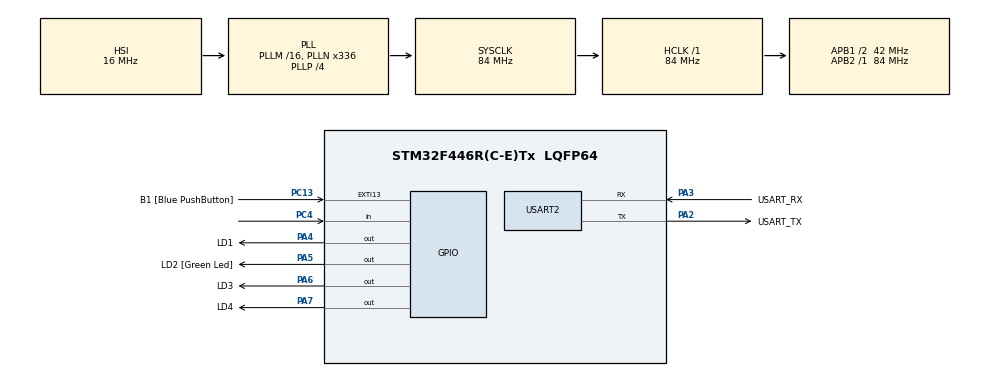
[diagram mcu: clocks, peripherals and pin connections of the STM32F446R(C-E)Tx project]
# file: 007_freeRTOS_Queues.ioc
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Mcu.Family=STM32F4
Mcu.Name=STM32F446R(C-E)Tx
Mcu.Package=LQFP64
NVIC.PriorityGroup=NVIC_PRIORITYGROUP_4
NVIC.TIM6_DAC_IRQn=true\:0\:0\:false\:false\:true\:false\:true\:true
NVIC.TimeBase=TIM6_DAC_IRQn
NVIC.TimeBaseIP=TIM6
NVIC.USART2_IRQn=true\:6\:0\:true\:false\:true\:true\:true\:true
PA13.GPIO_Label=TMS
PA13.Signal=SYS_JTMS-SWDIO
PA14.GPIO_Label=TCK
PA14.Signal=SYS_JTCK-SWCLK
PA2.GPIO_Label=USART_TX
PA2.Mode=Asynchronous
PA2.Signal=USART2_TX
PA3.GPIO_Label=USART_RX
PA3.Mode=Asynchronous
PA3.Signal=USART2_RX
PA4.GPIO_Label=LD1
PA4.Signal=GPIO_Output
PA5.GPIO_Label=LD2 [Green Led]
PA5.Signal=GPIO_Output
PA6.GPIO_Label=LD3
PA6.Signal=GPIO_Output
PA7.GPIO_Label=LD4
PA7.Signal=GPIO_Output
PB3.GPIO_Label=SWO
PB3.Signal=SYS_JTDO-SWO
PC13.GPIO_Label=B1 [Blue PushButton]
PC13.GPIO_ModeDefaultEXTI=GPIO_MODE_IT_FALLING
PC13.Signal=GPXTI13
PC14-OSC32_IN.Signal=RCC_OSC32_IN
PC15-OSC32_OUT.Signal=RCC_OSC32_OUT
PC4.Signal=GPIO_Input
PH0-OSC_IN.Signal=RCC_OSC_IN
PH1-OSC_OUT.Signal=RCC_OSC_OUT
ProjectManager.HeapSize=0x200
ProjectManager.StackSize=0x400
ProjectManager.TargetToolchain=STM32CubeIDE
RCC.AHBFreq_Value=84000000
RCC.APB1CLKDivider=RCC_HCLK_DIV2
RCC.APB1Freq_Value=42000000
RCC.APB1TimFreq_Value=84000000
RCC.APB2Freq_Value=84000000
RCC.APB2TimFreq_Value=84000000
RCC.CortexFreq_Value=84000000
RCC.FLatency-AdvancedSettings=FLASH_LATENCY_2
RCC.HCLKFreq_Value=84000000
RCC.HSE_VALUE=8000000
RCC.HSI_VALUE=16000000
RCC.LSE_VALUE=32768
RCC.PLLN=336
RCC.PLLP=RCC_PLLP_DIV4
RCC.SYSCLKFreq_VALUE=84000000
RCC.SYSCLKSource=RCC_SYSCLKSOURCE_PLLCLK
RCC.USBFreq_Value=168000000
RCC.VCOOutputFreq_Value=336000000
RTC.HourFormat=RTC_HOURFORMAT_12
USART2.VirtualMode=VM_ASYNC
VP_RTC_VS_RTC_Activate.Mode=RTC_Enabled
VP_SYS_VS_tim6.Mode=TIM6
board=NUCLEO-F446RE

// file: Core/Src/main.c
/* USER CODE BEGIN Header */
/**
  ******************************************************************************
  * @file           : main.c
  * @brief          : Main program body
  * @auther         : Rahul B.
  ******************************************************************************
  * @attention
  *
  * Copyright (c) 2025 STMicroelectronics.
  * All rights reserved.
  *
  * This software is licensed under terms that can be found in the LICENSE file
  * in the root directory of this software component.
  * If no LICENSE file comes with this software, it is provided AS-IS.
  *
  ******************************************************************************
  */
/* USER CODE END Header */
#include "main.h"

/* USER CODE BEGIN Includes */
#include <stdio.h>
#include "FreeRTOS.h"
#include "task.h"
/* USER CODE END Includes */

RTC_HandleTypeDef hrtc;

UART_HandleTypeDef huart2;

/* USER CODE BEGIN PV */
xTaskHandle handle_menu_task;
xTaskHandle handle_cmd_task;
xTaskHandle handle_print_task;
xTaskHandle handle_led_task;
xTaskHandle handle_rtc_task;

QueueHandle_t q_data;
QueueHandle_t q_print;
// software timers
TimerHandle_t handle_led_timer[4];

volatile uint8_t user_data;

state_t curr_state = sMainMenu;
/* USER CODE END PV */

void SystemClock_Config(void);
static void MX_GPIO_Init(void);
static void MX_USART2_UART_Init(void);
static void MX_RTC_Init(void);
/* USER CODE BEGIN PFP */
void led_effect_callback(TimerHandle_t xTimer);
/* USER CODE END PFP */

int main(void)
{

  /* USER CODE BEGIN 1 */
  BaseType_t status;
  /* USER CODE END 1 */

  /* MCU Configuration--------------------------------------------------------*/

  /* Reset of all peripherals, Initializes the Flash interface and the Systick. */
  HAL_Init();

  /* Configure the system clock */
  SystemClock_Config();

  /* Initialize all configured peripherals */
  MX_GPIO_Init();
  MX_USART2_UART_Init();
  MX_RTC_Init();
  /* USER CODE BEGIN 2 */
//  char msg[] = "Hello UART2 via ST-LINK!\r\n";
//
//    while (1)
//    {
//      HAL_UART_Transmit(&huart2, (uint8_t*)msg, strlen(msg), HAL_MAX_DELAY);
//      HAL_Delay(1000);
//    }

  status = xTaskCreate(menu_task, "menu_task", 250, NULL, 5, &handle_menu_task);
  configASSERT(status == pdPASS);

  status = xTaskCreate(cmd_task, "cmd_task", 250, NULL, 5, &handle_cmd_task);
  configASSERT(status == pdPASS);

  status = xTaskCreate(print_task, "print_task", 250, NULL, 5, &handle_print_task);
  configASSERT(status == pdPASS);

  status = xTaskCreate(led_task, "led_task", 250, NULL, 5, &handle_led_task);
  configASSERT(status == pdPASS);

  status = xTaskCreate(rtc_task, "rtc_task", 250, NULL, 5, &handle_rtc_task);
  configASSERT(status == pdPASS);

  q_data = xQueueCreate(10, sizeof(char));
  configASSERT(q_data != NULL);

  q_print = xQueueCreate(10, sizeof(size_t));
  configASSERT(q_print != NULL);

  // create software timers
  for (int i=0; i<4; i++){
      handle_led_timer[i] = xTimerCreate("led_timer", pdMS_TO_TICKS(1000), pdTRUE, (void *)(i+1), led_effect_callback);
  }

  HAL_UART_Receive_IT(&huart2,(uint8_t *) user_data, 1 );

  vTaskStartScheduler();
  /* USER CODE END 2 */

  /* Infinite loop */
  while (1)
  {

  }
}

void SystemClock_Config(void)
{
  RCC_OscInitTypeDef RCC_OscInitStruct = {0};
  RCC_ClkInitTypeDef RCC_ClkInitStruct = {0};

  /** Configure the main internal regulator output voltage
  */
  __HAL_RCC_PWR_CLK_ENABLE();
  __HAL_PWR_VOLTAGESCALING_CONFIG(PWR_REGULATOR_VOLTAGE_SCALE3);

  /** Initializes the RCC Oscillators according to the specified parameters
  * in the RCC_OscInitTypeDef structure.
  */
  RCC_OscInitStruct.OscillatorType = RCC_OSCILLATORTYPE_HSI|RCC_OSCILLATORTYPE_LSI;
  RCC_OscInitStruct.LSEState = RCC_LSE_OFF;
  RCC_OscInitStruct.HSIState = RCC_HSI_ON;
  RCC_OscInitStruct.HSICalibrationValue = RCC_HSICALIBRATION_DEFAULT;
  RCC_OscInitStruct.LSIState = RCC_LSI_ON;
  RCC_OscInitStruct.PLL.PLLState = RCC_PLL_ON;
  RCC_OscInitStruct.PLL.PLLSource = RCC_PLLSOURCE_HSI;
  RCC_OscInitStruct.PLL.PLLM = 16;
  RCC_OscInitStruct.PLL.PLLN = 336;
  RCC_OscInitStruct.PLL.PLLP = RCC_PLLP_DIV4;
  RCC_OscInitStruct.PLL.PLLQ = 2;
  RCC_OscInitStruct.PLL.PLLR = 2;
  if (HAL_RCC_OscConfig(&RCC_OscInitStruct) != HAL_OK)
  {
    Error_Handler();
  }

  /** Initializes the CPU, AHB and APB buses clocks
  */
  RCC_ClkInitStruct.ClockType = RCC_CLOCKTYPE_HCLK|RCC_CLOCKTYPE_SYSCLK
                              |RCC_CLOCKTYPE_PCLK1|RCC_CLOCKTYPE_PCLK2;
  RCC_ClkInitStruct.SYSCLKSource = RCC_SYSCLKSOURCE_PLLCLK;
  RCC_ClkInitStruct.AHBCLKDivider = RCC_SYSCLK_DIV1;
  RCC_ClkInitStruct.APB1CLKDivider = RCC_HCLK_DIV2;
  RCC_ClkInitStruct.APB2CLKDivider = RCC_HCLK_DIV1;

  if (HAL_RCC_ClockConfig(&RCC_ClkInitStruct, FLASH_LATENCY_2) != HAL_OK)
  {
    Error_Handler();
  }
}

static void MX_RTC_Init(void)
{

  /** Initialize RTC Only
  */
  hrtc.Instance = RTC;
  hrtc.Init.HourFormat = RTC_HOURFORMAT_12;
  hrtc.Init.AsynchPrediv = 127;
  hrtc.Init.SynchPrediv = 255;
  hrtc.Init.OutPut = RTC_OUTPUT_DISABLE;
  hrtc.Init.OutPutPolarity = RTC_OUTPUT_POLARITY_HIGH;
  hrtc.Init.OutPutType = RTC_OUTPUT_TYPE_OPENDRAIN;
  if (HAL_RTC_Init(&hrtc) != HAL_OK)
  {
    Error_Handler();
  }

}

static void MX_USART2_UART_Init(void)
{

  huart2.Instance = USART2;
  huart2.Init.BaudRate = 115200;
  huart2.Init.WordLength = UART_WORDLENGTH_8B;
  huart2.Init.StopBits = UART_STOPBITS_1;
  huart2.Init.Parity = UART_PARITY_NONE;
  huart2.Init.Mode = UART_MODE_TX_RX;
  huart2.Init.HwFlowCtl = UART_HWCONTROL_NONE;
  huart2.Init.OverSampling = UART_OVERSAMPLING_16;
  if (HAL_UART_Init(&huart2) != HAL_OK)
  {
    Error_Handler();
  }

}

static void MX_GPIO_Init(void)
{
  GPIO_InitTypeDef GPIO_InitStruct = {0};

  /* GPIO Ports Clock Enable */
  __HAL_RCC_GPIOC_CLK_ENABLE();
  __HAL_RCC_GPIOH_CLK_ENABLE();
  __HAL_RCC_GPIOA_CLK_ENABLE();
  __HAL_RCC_GPIOB_CLK_ENABLE();

  /*Configure GPIO pin Output Level */
  HAL_GPIO_WritePin(GPIOA, LD1_Pin|LD2_Pin|LD3_Pin|LD4_Pin, GPIO_PIN_RESET);

  /*Configure GPIO pin : B1_Pin */
  GPIO_InitStruct.Pin = B1_Pin;
  GPIO_InitStruct.Mode = GPIO_MODE_IT_FALLING;
  GPIO_InitStruct.Pull = GPIO_NOPULL;
  HAL_GPIO_Init(B1_GPIO_Port, &GPIO_InitStruct);

  /*Configure GPIO pins : LD1_Pin LD2_Pin LD3_Pin LD4_Pin */
  GPIO_InitStruct.Pin = LD1_Pin|LD2_Pin|LD3_Pin|LD4_Pin;
  GPIO_InitStruct.Mode = GPIO_MODE_OUTPUT_PP;
  GPIO_InitStruct.Pull = GPIO_NOPULL;
  GPIO_InitStruct.Speed = GPIO_SPEED_FREQ_LOW;
  HAL_GPIO_Init(GPIOA, &GPIO_InitStruct);

  /*Configure GPIO pin : PC4 */
  GPIO_InitStruct.Pin = GPIO_PIN_4;
  GPIO_InitStruct.Mode = GPIO_MODE_INPUT;
  GPIO_InitStruct.Pull = GPIO_NOPULL;
  HAL_GPIO_Init(GPIOC, &GPIO_InitStruct);

}

/* USER CODE BEGIN 4 */

void led_effect_callback(TimerHandle_t xTimer)
{
    int id;
    id = (uint32_t) pvTimerGetTimerID (xTimer);

    switch (id)
    {
      case 1:
        LED_effect1();
        break;

      case 2:
        LED_effect2();
        break;

      case 3:
        LED_effect3();
        break;

      case 4:
        LED_effect4();
        break;

      default:
        break;
    }
}
void HAL_UART_RxCpltCallback(UART_HandleTypeDef *huart)
{
	uint8_t dummy;
	if(! xQueueIsQueueFullFromISR(q_data)){
		/* Enqueqe data byte */
		xQueueSendFromISR(q_data, (void *) &user_data, NULL);
	}else{
		if(user_data == '\n'){
			/*Make sure that last data byte of the queue is '\n' */
			xQueueReceiveFromISR(q_data, (void *) &dummy, NULL);
			xQueueSendFromISR(q_data, (void *) &user_data, NULL);
		}
	}

	/*Send notificartions to command handling task if user_data = '\n' */
	if(user_data == '\n'){
		/*'\n' Send notificartions to command handling task*/
		xTaskNotifyFromISR(handle_cmd_task, 0, eNoAction, NULL);
	}

	/* Enable_UART_Receive_IT*/
	HAL_UART_Receive_IT(&huart2, (uint8_t *) &user_data, 1);

}

/* USER CODE END 4 */

void HAL_TIM_PeriodElapsedCallback(TIM_HandleTypeDef *htim)
{
  if (htim->Instance == TIM6)
  {
    HAL_IncTick();
  }
}

void Error_Handler(void)
{
  __disable_irq();
  while (1)
  {
  }
}
